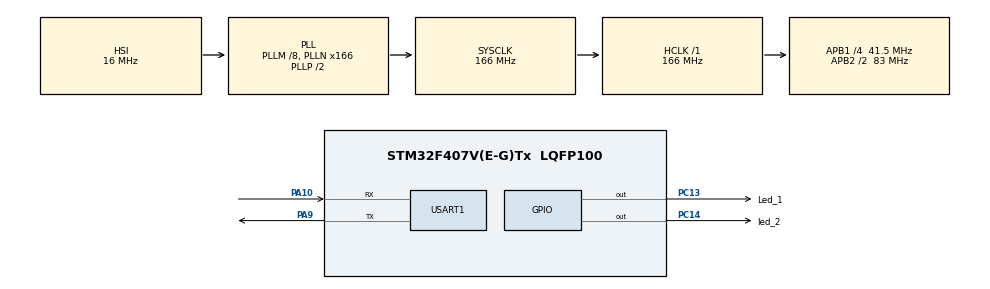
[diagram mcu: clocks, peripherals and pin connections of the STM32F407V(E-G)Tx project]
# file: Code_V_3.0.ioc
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FREERTOS.Tasks01=defaultTask,24,128,StartDefaultTask,Default,NULL,Dynamic,NULL,NULL;Serial_event_Task,8,128,Serial_event_Func,Default,NULL,Dynamic,NULL,NULL;Process_Task,8,128,Process_Func,Default,NULL,Dynamic,NULL,NULL
FREERTOS.configMAX_TASK_NAME_LEN=32
FREERTOS.configUSE_NEWLIB_REENTRANT=1
Mcu.Family=STM32F4
Mcu.Name=STM32F407V(E-G)Tx
Mcu.Package=LQFP100
NVIC.PriorityGroup=NVIC_PRIORITYGROUP_4
NVIC.TIM8_TRG_COM_TIM14_IRQn=true\:15\:0\:false\:false\:true\:false\:false\:true\:true
NVIC.TimeBase=TIM8_TRG_COM_TIM14_IRQn
NVIC.TimeBaseIP=TIM14
NVIC.USART1_IRQn=true\:5\:0\:false\:false\:true\:true\:true\:true\:true
PA10.Mode=Asynchronous
PA10.Signal=USART1_RX
PA13.Mode=Serial_Wire
PA13.Signal=SYS_JTMS-SWDIO
PA14.Mode=Serial_Wire
PA14.Signal=SYS_JTCK-SWCLK
PA9.Mode=Asynchronous
PA9.Signal=USART1_TX
PC13-ANTI_TAMP.GPIO_Label=Led_1
PC13-ANTI_TAMP.Signal=GPIO_Output
PC14-OSC32_IN.GPIO_Label=led_2
PC14-OSC32_IN.Signal=GPIO_Output
PH0-OSC_IN.Mode=HSE-External-Oscillator
PH0-OSC_IN.Signal=RCC_OSC_IN
PH1-OSC_OUT.Mode=HSE-External-Oscillator
PH1-OSC_OUT.Signal=RCC_OSC_OUT
ProjectManager.HeapSize=0x200
ProjectManager.StackSize=0x400
ProjectManager.TargetToolchain=STM32CubeIDE
RCC.48MHZClocksFreq_Value=83000000
RCC.AHBFreq_Value=166000000
RCC.APB1CLKDivider=RCC_HCLK_DIV4
RCC.APB1Freq_Value=41500000
RCC.APB1TimFreq_Value=83000000
RCC.APB2CLKDivider=RCC_HCLK_DIV2
RCC.APB2Freq_Value=83000000
RCC.APB2TimFreq_Value=166000000
RCC.CortexFreq_Value=166000000
RCC.HCLKFreq_Value=166000000
RCC.HSE_VALUE=25000000
RCC.HSI_VALUE=16000000
RCC.LSE_VALUE=32768
RCC.PLLM=8
RCC.PLLN=166
RCC.SYSCLKFreq_VALUE=166000000
RCC.SYSCLKSource=RCC_SYSCLKSOURCE_PLLCLK
RCC.VCOOutputFreq_Value=332000000
USART1.VirtualMode=VM_ASYNC
VP_FREERTOS_VS_CMSIS_V2.Mode=CMSIS_V2
VP_SYS_VS_tim14.Mode=TIM14
board=custom

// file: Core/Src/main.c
/* USER CODE BEGIN Header */
/**
  ******************************************************************************
  * @file           : main.c
  * @brief          : Main program body
  ******************************************************************************
  * @attention
  *
  * Copyright (c) 2025 STMicroelectronics.
  * All rights reserved.
  *
  * This software is licensed under terms that can be found in the LICENSE file
  * in the root directory of this software component.
  * If no LICENSE file comes with this software, it is provided AS-IS.
  *
  ******************************************************************************
  */
/* USER CODE END Header */
#include "main.h"
#include "cmsis_os.h"
#include "usart.h"
#include "gpio.h"

/* USER CODE BEGIN Includes */
#include "Lib.h"
/* USER CODE END Includes */

void SystemClock_Config(void);
void MX_FREERTOS_Init(void);

int main(void)
{

  /* MCU Configuration--------------------------------------------------------*/

  /* Reset of all peripherals, Initializes the Flash interface and the Systick. */
  HAL_Init();

  /* Configure the system clock */
  SystemClock_Config();

  /* Initialize all configured peripherals */
  MX_GPIO_Init();
  MX_USART1_UART_Init();

  /* Init scheduler */
  osKernelInitialize();  /* Call init function for freertos objects (in freertos.c) */
  MX_FREERTOS_Init();

  /* Start scheduler */
  osKernelStart();
  /* We should never get here as control is now taken by the scheduler */
  /* Infinite loop */
  while (1)
  {

  }
}

void SystemClock_Config(void)
{
  RCC_OscInitTypeDef RCC_OscInitStruct = {0};
  RCC_ClkInitTypeDef RCC_ClkInitStruct = {0};

  /** Configure the main internal regulator output voltage
  */
  __HAL_RCC_PWR_CLK_ENABLE();
  __HAL_PWR_VOLTAGESCALING_CONFIG(PWR_REGULATOR_VOLTAGE_SCALE1);

  /** Initializes the RCC Oscillators according to the specified parameters
  * in the RCC_OscInitTypeDef structure.
  */
  RCC_OscInitStruct.OscillatorType = RCC_OSCILLATORTYPE_HSI;
  RCC_OscInitStruct.HSIState = RCC_HSI_ON;
  RCC_OscInitStruct.HSICalibrationValue = RCC_HSICALIBRATION_DEFAULT;
  RCC_OscInitStruct.PLL.PLLState = RCC_PLL_ON;
  RCC_OscInitStruct.PLL.PLLSource = RCC_PLLSOURCE_HSI;
  RCC_OscInitStruct.PLL.PLLM = 8;
  RCC_OscInitStruct.PLL.PLLN = 166;
  RCC_OscInitStruct.PLL.PLLP = RCC_PLLP_DIV2;
  RCC_OscInitStruct.PLL.PLLQ = 4;
  if (HAL_RCC_OscConfig(&RCC_OscInitStruct) != HAL_OK)
  {
    Error_Handler();
  }

  /** Initializes the CPU, AHB and APB buses clocks
  */
  RCC_ClkInitStruct.ClockType = RCC_CLOCKTYPE_HCLK|RCC_CLOCKTYPE_SYSCLK
                              |RCC_CLOCKTYPE_PCLK1|RCC_CLOCKTYPE_PCLK2;
  RCC_ClkInitStruct.SYSCLKSource = RCC_SYSCLKSOURCE_PLLCLK;
  RCC_ClkInitStruct.AHBCLKDivider = RCC_SYSCLK_DIV1;
  RCC_ClkInitStruct.APB1CLKDivider = RCC_HCLK_DIV4;
  RCC_ClkInitStruct.APB2CLKDivider = RCC_HCLK_DIV2;

  if (HAL_RCC_ClockConfig(&RCC_ClkInitStruct, FLASH_LATENCY_5) != HAL_OK)
  {
    Error_Handler();
  }
}

/* USER CODE BEGIN 4 */
void HAL_UART_RxCpltCallback(UART_HandleTypeDef *huart){
	if (huart == &huart1) {
		Uart.Event_Flag = true;
	}
}
/* USER CODE END 4 */

void HAL_TIM_PeriodElapsedCallback(TIM_HandleTypeDef *htim)
{
  if (htim->Instance == TIM14) {
    HAL_IncTick();
  }
}

void Error_Handler(void)
{
  __disable_irq();
  while (1)
  {
  }
}

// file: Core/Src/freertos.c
/* USER CODE BEGIN Header */
/**
  ******************************************************************************
  * File Name          : freertos.c
  * Description        : Code for freertos applications
  ******************************************************************************
  * @attention
  *
  * Copyright (c) 2025 STMicroelectronics.
  * All rights reserved.
  *
  * This software is licensed under terms that can be found in the LICENSE file
  * in the root directory of this software component.
  * If no LICENSE file comes with this software, it is provided AS-IS.
  *
  ******************************************************************************
  */
/* USER CODE END Header */

#include "FreeRTOS.h"
#include "task.h"
#include "main.h"
#include "cmsis_os.h"

/* USER CODE BEGIN Includes */
#include "Lib.h"
#include "usart.h"
#include "string.h"
/* USER CODE END Includes */

/* USER CODE BEGIN PTD */
struct Uart Uart;
/* USER CODE END PTD */

/* Definitions for defaultTask */
osThreadId_t defaultTaskHandle;
const osThreadAttr_t defaultTask_attributes = {
  .name = "defaultTask",
  .stack_size = 128 * 4,
  .priority = (osPriority_t) osPriorityNormal,
};
/* Definitions for Serial_event_Task */
osThreadId_t Serial_event_TaskHandle;
const osThreadAttr_t Serial_event_Task_attributes = {
  .name = "Serial_event_Task",
  .stack_size = 64 * 4,
  .priority = (osPriority_t) osPriorityNormal,
};
/* Definitions for Process_Task */
osThreadId_t Process_TaskHandle;
const osThreadAttr_t Process_Task_attributes = {
  .name = "Process_Task",
  .stack_size = 150 * 4,
  .priority = (osPriority_t) osPriorityLow,
};

void StartDefaultTask(void *argument);
void Serial_event_Func(void *argument);
void Process_Func(void *argument);

void MX_FREERTOS_Init(void); /* (MISRA C 2004 rule 8.1) */

void MX_FREERTOS_Init(void) {

  /* Create the thread(s) */
  /* creation of defaultTask */
  defaultTaskHandle = osThreadNew(StartDefaultTask, NULL, &defaultTask_attributes);

  /* creation of Serial_event_Task */
  Serial_event_TaskHandle = osThreadNew(Serial_event_Func, NULL, &Serial_event_Task_attributes);

  /* creation of Process_Task */
  Process_TaskHandle = osThreadNew(Process_Func, NULL, &Process_Task_attributes);

}

void StartDefaultTask(void *argument)
{
  /* USER CODE BEGIN StartDefaultTask */
  /* Infinite loop */
  for(;;)
  {
		if (Uart.Event_Flag == true) {
			Uart.ptr = Uart.ptr + 1;
			HAL_UART_Transmit(&huart1, Uart.Rx_buffer, 1, 10);
			Uart.buffer[Uart.ptr - 1] = Uart.Rx_buffer[0];
			switch (Uart.Rx_buffer[0]) {
			case 0x0D:
				Uart.ptr = 0;
				HAL_UART_Transmit(&huart1, "\r\n", 2, 10);
				memset(Uart.command, '\0', 20);
				memcpy(Uart.command, Uart.buffer, 20);
				memset(Uart.buffer, '\0', 20);
				Uart.ready = true;
				break;
			case 0x7F:

				break;
			}
			Uart.Event_Flag = false;
			osDelay(1);
		}

	}
  /* USER CODE END StartDefaultTask */
}

void Serial_event_Func(void *argument)
{
  /* USER CODE BEGIN Serial_event_Func */
  /* Infinite loop */
  for(;;)
  {
	  HAL_UART_Receive_IT(&huart1, &Uart.Rx_buffer, sizeof(Uart.Rx_buffer));
    osDelay(10);
  }
  /* USER CODE END Serial_event_Func */
}

void Process_Func(void *argument)
{
  /* USER CODE BEGIN Process_Func */
  /* Infinite loop */
  for(;;)
  {
	  if (Uart.ready == true) {
		  if (strcmp((char *)Uart.command , "led1-off\r") == 0) {
			  HAL_GPIO_WritePin(Led_1_GPIO_Port, Led_1_Pin, GPIO_PIN_SET);
		}
		  if (strcmp((char *)Uart.command , "led1-on\r") == 0) {
			  HAL_GPIO_WritePin(Led_1_GPIO_Port, Led_1_Pin, GPIO_PIN_RESET);
		}
		  Uart.ready = false;

	}

    osDelay(1);
  }
  /* USER CODE END Process_Func */
}
